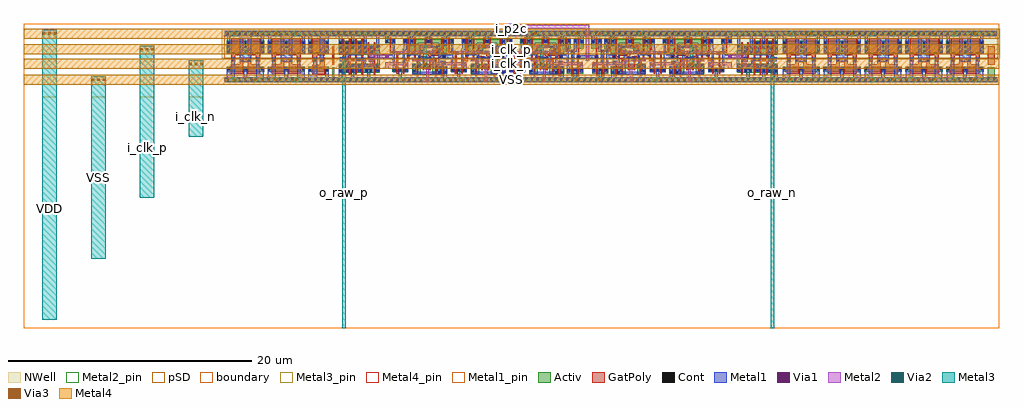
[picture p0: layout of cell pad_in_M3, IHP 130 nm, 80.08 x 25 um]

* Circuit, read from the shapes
.subckt pad_in_M3 VDD VSS i_clk_n i_clk_p i_p2c o_raw_n o_raw_p
XM1 VSS VDD VSS VSS sg13_lv_nmos w=0.42u l=1u m=15
XM2 o_raw_p n1 VSS VSS sg13_lv_nmos w=0.74u l=0.13u m=4
XM3 n1 n2 VSS VSS sg13_lv_nmos w=0.74u l=0.13u
XM4 VSS n3 n2 VSS sg13_lv_nmos w=0.3u l=0.13u
XM5 n4 n5 VSS VSS sg13_lv_nmos w=0.3u l=0.13u
XM6 n5 n6 n7 VSS sg13_lv_nmos w=0.85u l=0.13u
XM7 VSS n3 n5 VSS sg13_lv_nmos w=0.3u l=0.13u
XM8 n3 n5 VSS VSS sg13_lv_nmos w=0.3u l=0.13u
XM9 n7 n8 n3 VSS sg13_lv_nmos w=0.85u l=0.13u
XM10 VSS i_clk_n n7 VSS sg13_lv_nmos w=0.64u l=0.13u
XM11 VSS n9 n8 VSS sg13_lv_nmos w=0.3u l=0.13u
XM12 n6 n10 VSS VSS sg13_lv_nmos w=0.3u l=0.13u
XM13 n10 n11 n12 VSS sg13_lv_nmos w=0.85u l=0.13u
XM14 VSS n9 n10 VSS sg13_lv_nmos w=0.3u l=0.13u
XM15 n9 n10 VSS VSS sg13_lv_nmos w=0.3u l=0.13u
XM16 n12 n13 n9 VSS sg13_lv_nmos w=0.85u l=0.13u
XM17 VSS i_clk_p n12 VSS sg13_lv_nmos w=0.64u l=0.13u
XM18 VSS n14 n13 VSS sg13_lv_nmos w=0.3u l=0.13u
XM19 n11 n15 VSS VSS sg13_lv_nmos w=0.3u l=0.13u
XM20 n15 n16 n17 VSS sg13_lv_nmos w=0.85u l=0.13u
XM21 VSS n14 n15 VSS sg13_lv_nmos w=0.3u l=0.13u
XM22 n14 n15 VSS VSS sg13_lv_nmos w=0.3u l=0.13u
XM23 n17 n18 n14 VSS sg13_lv_nmos w=0.85u l=0.13u
XM24 VSS i_clk_n n17 VSS sg13_lv_nmos w=0.64u l=0.13u
XM25 VSS n16 n18 VSS sg13_lv_nmos w=0.48u l=0.13u
XM26 n16 i_p2c VSS VSS sg13_lv_nmos w=0.48u l=0.13u
XM27 VSS i_p2c n19 VSS sg13_lv_nmos w=0.48u l=0.13u
XM28 n20 n19 VSS VSS sg13_lv_nmos w=0.48u l=0.13u
XM29 n21 i_clk_p VSS VSS sg13_lv_nmos w=0.64u l=0.13u
XM30 n22 n20 n21 VSS sg13_lv_nmos w=0.85u l=0.13u
XM31 VSS n23 n22 VSS sg13_lv_nmos w=0.3u l=0.13u
XM32 n23 n22 VSS VSS sg13_lv_nmos w=0.3u l=0.13u
XM33 n21 n19 n23 VSS sg13_lv_nmos w=0.85u l=0.13u
XM34 VSS n23 n24 VSS sg13_lv_nmos w=0.3u l=0.13u
XM35 n25 n22 VSS VSS sg13_lv_nmos w=0.3u l=0.13u
XM36 n26 i_clk_n VSS VSS sg13_lv_nmos w=0.64u l=0.13u
XM37 n27 n25 n26 VSS sg13_lv_nmos w=0.85u l=0.13u
XM38 VSS n28 n27 VSS sg13_lv_nmos w=0.3u l=0.13u
XM39 n28 n27 VSS VSS sg13_lv_nmos w=0.3u l=0.13u
XM40 n26 n24 n28 VSS sg13_lv_nmos w=0.85u l=0.13u
XM41 VSS n28 n29 VSS sg13_lv_nmos w=0.3u l=0.13u
XM42 n30 n27 VSS VSS sg13_lv_nmos w=0.3u l=0.13u
XM43 VSS n30 n31 VSS sg13_lv_nmos w=0.74u l=0.13u
XM44 o_raw_n n31 VSS VSS sg13_lv_nmos w=0.74u l=0.13u m=4
XM45 VDD VSS VDD VDD sg13_lv_pmos w=1u l=1u m=15
XM46 o_raw_p n1 VDD VDD sg13_lv_pmos w=1.12u l=0.13u m=4
XM47 n1 n2 VDD VDD sg13_lv_pmos w=0.84u l=0.13u m=2
XM48 n2 n3 VDD VDD sg13_lv_pmos w=0.3u l=0.13u
XM49 VDD n5 n4 VDD sg13_lv_pmos w=0.3u l=0.13u
XM50 n32 n6 VDD VDD sg13_lv_pmos w=1.14u l=0.13u
XM51 n5 n3 n32 VDD sg13_lv_pmos w=0.59u l=0.13u
XM52 VDD i_clk_n n32 VDD sg13_lv_pmos w=0.3u l=0.13u
XM53 n33 i_clk_n VDD VDD sg13_lv_pmos w=0.3u l=0.13u
XM54 n33 n5 n3 VDD sg13_lv_pmos w=0.57u l=0.13u
XM55 VDD n8 n33 VDD sg13_lv_pmos w=1.12u l=0.13u
XM56 n8 n9 VDD VDD sg13_lv_pmos w=0.3u l=0.13u
XM57 VDD n10 n6 VDD sg13_lv_pmos w=0.3u l=0.13u
XM58 n34 n11 VDD VDD sg13_lv_pmos w=1.14u l=0.13u
XM59 n10 n9 n34 VDD sg13_lv_pmos w=0.59u l=0.13u
XM60 VDD i_clk_p n34 VDD sg13_lv_pmos w=0.3u l=0.13u
XM61 n35 i_clk_p VDD VDD sg13_lv_pmos w=0.3u l=0.13u
XM62 n35 n10 n9 VDD sg13_lv_pmos w=0.57u l=0.13u
XM63 VDD n13 n35 VDD sg13_lv_pmos w=1.12u l=0.13u
XM64 n13 n14 VDD VDD sg13_lv_pmos w=0.3u l=0.13u
XM65 VDD n15 n11 VDD sg13_lv_pmos w=0.3u l=0.13u
XM66 n36 n16 VDD VDD sg13_lv_pmos w=1.14u l=0.13u
XM67 n15 n14 n36 VDD sg13_lv_pmos w=0.59u l=0.13u
XM68 VDD i_clk_n n36 VDD sg13_lv_pmos w=0.3u l=0.13u
XM69 n37 i_clk_n VDD VDD sg13_lv_pmos w=0.3u l=0.13u
XM70 n37 n15 n14 VDD sg13_lv_pmos w=0.57u l=0.13u
XM71 VDD n18 n37 VDD sg13_lv_pmos w=1.12u l=0.13u
XM72 n18 n16 VDD VDD sg13_lv_pmos w=0.75u l=0.13u
XM73 VDD i_p2c n16 VDD sg13_lv_pmos w=0.75u l=0.13u
XM74 n19 i_p2c VDD VDD sg13_lv_pmos w=0.75u l=0.13u
XM75 VDD n19 n20 VDD sg13_lv_pmos w=0.75u l=0.13u
XM76 n38 n20 VDD VDD sg13_lv_pmos w=1.12u l=0.13u
XM77 n22 n23 n38 VDD sg13_lv_pmos w=0.57u l=0.13u
XM78 VDD i_clk_p n38 VDD sg13_lv_pmos w=0.3u l=0.13u
XM79 n39 i_clk_p VDD VDD sg13_lv_pmos w=0.3u l=0.13u
XM80 n39 n22 n23 VDD sg13_lv_pmos w=0.59u l=0.13u
XM81 VDD n19 n39 VDD sg13_lv_pmos w=1.14u l=0.13u
XM82 n24 n23 VDD VDD sg13_lv_pmos w=0.3u l=0.13u
XM83 VDD n22 n25 VDD sg13_lv_pmos w=0.3u l=0.13u
XM84 n40 n25 VDD VDD sg13_lv_pmos w=1.12u l=0.13u
XM85 n27 n28 n40 VDD sg13_lv_pmos w=0.57u l=0.13u
XM86 VDD i_clk_n n40 VDD sg13_lv_pmos w=0.3u l=0.13u
XM87 n41 i_clk_n VDD VDD sg13_lv_pmos w=0.3u l=0.13u
XM88 n41 n27 n28 VDD sg13_lv_pmos w=0.59u l=0.13u
XM89 VDD n24 n41 VDD sg13_lv_pmos w=1.14u l=0.13u
XM90 n29 n28 VDD VDD sg13_lv_pmos w=0.3u l=0.13u
XM91 VDD n27 n30 VDD sg13_lv_pmos w=0.3u l=0.13u
XM92 n31 n30 VDD VDD sg13_lv_pmos w=0.84u l=0.13u m=2
XM93 o_raw_n n31 VDD VDD sg13_lv_pmos w=1.12u l=0.13u m=4
.ends

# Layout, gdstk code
from math import pi, radians
import gdstk
lib = gdstk.Library(unit=1e-6, precision=1e-09)
def R(c, l, rs):  # rectangles x0, y0, x1, y1
    for r in rs: c.add(gdstk.rectangle(r[:2], r[2:], *l))
def A(c, l, x, y, w, h, nx, ny, dx, dy):  # array of equal rectangles
    R(c, l, [(x+i*dx, y+j*dy, x+i*dx+w, y+j*dy+h) for i in range(nx) for j in range(ny)])
def P(c, l, *ps):  # polygons
    for p in ps: c.add(gdstk.Polygon(p, *l))
Activ = (1, 0)
GatPoly = (5, 0)
Cont = (6, 0)
Metal1 = (8, 0)
Metal1_pin = (8, 2)
Metal2 = (10, 0)
Metal2_pin = (10, 2)
pSD = (14, 0)
Via1 = (19, 0)
Via2 = (29, 0)
Metal3 = (30, 0)
Metal3_pin = (30, 2)
NWell = (31, 0)
Via3 = (49, 0)
Metal4 = (50, 0)
Metal4_pin = (50, 2)
boundary = (189, 4)

sg13cmos5l_fill_1_1 = lib.new_cell('sg13cmos5l_fill_1$1')
R(sg13cmos5l_fill_1_1, Activ, [(0,-0.15,0.48,0.15), (0.16,0.15,0.32,1.03), (0,3.63,0.48,3.93)])
R(sg13cmos5l_fill_1_1, GatPoly, [(0.16,1.23,0.32,2.75)])
R(sg13cmos5l_fill_1_1, Cont, [(0.16,-0.08,0.32,0.08), (0.16,-0.08,0.32,0.08), (0.16,3.7,0.32,3.86), (0.16,3.7,0.32,3.86)])
R(sg13cmos5l_fill_1_1, Metal1, [(0,-0.22,0.48,0.22), (0,3.56,0.48,4)])
R(sg13cmos5l_fill_1_1, pSD, [(-0.07,-0.18,0.55,0.18), (-0.07,1.76,0.55,3.6)])
R(sg13cmos5l_fill_1_1, NWell, [(-0.24,1.75,0.72,4.17)])
R(sg13cmos5l_fill_1_1, boundary, [(0,0,0.48,3.78)])

sg13cmos5l_decap_4_1 = lib.new_cell('sg13cmos5l_decap_4$1')
R(sg13cmos5l_decap_4_1, Activ, [(0,-0.15,1.92,0.15), (0.12,0.645,1.8,1.065), (0.12,2.18,1.8,3.18), (0,3.63,1.92,3.93)])
P(sg13cmos5l_decap_4_1, GatPoly, [(0.46,1.475),(0.46,3.36),(1.46,3.36),(1.46,2),(0.855,2),(0.855,1.475)],
  [(0.46,0.465),(0.46,1.245),(1.065,1.245),(1.065,1.8),(1.46,1.8),(1.46,0.465)])
A(sg13cmos5l_decap_4_1, Cont, 0.16, -0.08, 0.16, 0.16, 4, 2, 0.48, 3.78)
A(sg13cmos5l_decap_4_1, Cont, 0.19, 2.27, 0.16, 0.16, 1, 3, 0, 0.34)
A(sg13cmos5l_decap_4_1, Cont, 1.57, 2.27, 0.16, 0.16, 1, 3, 0, 0.34)
R(sg13cmos5l_decap_4_1, Cont, [(0.19,0.72,0.35,0.88), (1.57,0.72,1.73,0.88), (1.15,1.555,1.31,1.715), (0.61,1.56,0.77,1.72)])
P(sg13cmos5l_decap_4_1, Metal1, [(0,-0.22),(0,0.22),(0.13,0.22),(0.13,0.935),(0.53,0.935),(0.53,1.805),(0.855,1.805),(0.855,0.22),(1.51,0.22),(1.51,0.935),(1.79,0.935),(1.79,0.22),(1.92,0.22),(1.92,-0.22)],
  [(1.065,1.47),(1.065,3.56),(0.4,3.56),(0.4,2.22),(0.13,2.22),(0.13,3.56),(0,3.56),(0,4),(1.92,4),(1.92,3.56),(1.79,3.56),(1.79,2.22),(1.405,2.22),(1.405,1.47)])
R(sg13cmos5l_decap_4_1, pSD, [(-0.07,-0.18,1.99,0.18), (-0.16,1.76,1.99,3.6)])
R(sg13cmos5l_decap_4_1, NWell, [(-0.24,1.75,2.16,4.17)])
R(sg13cmos5l_decap_4_1, boundary, [(0,0,1.92,3.78)])

sg13cmos5l_buf_4_1 = lib.new_cell('sg13cmos5l_buf_4$1')
R(sg13cmos5l_buf_4_1, Activ, [(0,-0.15,3.84,0.15), (0.215,0.59,3.575,1.33), (0,3.63,3.84,3.93)])
P(sg13cmos5l_buf_4_1, Activ, [(0.215,2.06),(0.215,3.18),(2.525,3.18),(2.525,2.9),(3.575,2.9),(3.575,2.06)])
P(sg13cmos5l_buf_4_1, GatPoly, [(3.105,0.41),(3.105,1.57),(2.82,1.57),(2.82,1.75),(2.595,1.75),(2.595,3.08),(2.725,3.08),(2.725,1.9),(3.105,1.9),(3.105,3.08),(3.235,3.08),(3.235,0.41)],
  [(0.555,0.41),(0.555,3.36),(0.685,3.36),(0.685,1.67),(1.065,1.67),(1.065,3.36),(1.195,3.36),(1.195,1.67),(1.575,1.67),(1.575,3.36),(1.705,3.36),(1.705,1.82),(2.085,1.82),(2.085,3.36),(2.215,3.36),(2.215,1.82),(2.3,1.82),(2.3,1.52),(2.215,1.52),(2.215,0.41),(2.085,0.41),(2.085,1.52),(1.705,1.52),(1.705,0.41),(1.575,0.41),(1.575,1.52),(1.195,1.52),(1.195,0.41),(1.065,0.41),(1.065,1.52),(0.685,1.52),(0.685,0.41)])
A(sg13cmos5l_buf_4_1, Cont, 0.285, 0.66, 0.16, 0.16, 4, 2, 0.51, 2.29)
A(sg13cmos5l_buf_4_1, Cont, 0.285, 2.54, 0.16, 0.16, 6, 1, 0.51, 0)
R(sg13cmos5l_buf_4_1, Cont, [(0.16,-0.08,0.32,0.08), (0.16,-0.08,0.32,0.08), (0.64,-0.08,0.8,0.08), (0.64,-0.08,0.8,0.08), (1.12,-0.08,1.28,0.08), (1.12,-0.08,1.28,0.08), (1.6,-0.08,1.76,0.08), (1.6,-0.08,1.76,0.08), (2.08,-0.08,2.24,0.08), (2.08,-0.08,2.24,0.08), (2.56,-0.08,2.72,0.08), (2.56,-0.08,2.72,0.08), (3.04,-0.08,3.2,0.08), (3.04,-0.08,3.2,0.08), (3.52,-0.08,3.68,0.08), (3.52,-0.08,3.68,0.08), (2.425,0.66,2.585,0.82), (2.765,0.66,2.925,0.82), (3.345,0.66,3.505,0.82), (0.285,1,0.445,1.16), (0.795,1,0.955,1.16), (1.815,1,1.975,1.16), (3.345,1,3.505,1.16), (1.73,1.59,1.89,1.75), (2.07,1.59,2.23,1.75), (2.905,1.655,3.065,1.815), (0.285,2.13,0.445,2.29), (0.795,2.13,0.955,2.29), (1.815,2.13,1.975,2.29), (2.325,2.13,2.485,2.29), (2.835,2.2,2.995,2.36), (3.345,2.67,3.505,2.83), (0.16,3.7,0.32,3.86), (0.16,3.7,0.32,3.86), (0.64,3.7,0.8,3.86), (0.64,3.7,0.8,3.86), (1.12,3.7,1.28,3.86), (1.12,3.7,1.28,3.86), (1.6,3.7,1.76,3.86), (1.6,3.7,1.76,3.86), (2.08,3.7,2.24,3.86), (2.08,3.7,2.24,3.86), (2.56,3.7,2.72,3.86), (2.56,3.7,2.72,3.86), (3.04,3.7,3.2,3.86), (3.04,3.7,3.2,3.86), (3.52,3.7,3.68,3.86), (3.52,3.7,3.68,3.86)])
R(sg13cmos5l_buf_4_1, Metal1, [(2.7,1.475,3.15,1.885)])
P(sg13cmos5l_buf_4_1, Metal1, [(0.745,0.605),(0.745,1.525),(0.32,1.525),(0.32,1.84),(0.745,1.84),(0.745,3.13),(1.005,3.13),(1.005,2.165),(1.765,2.165),(1.765,3.13),(2.025,3.13),(2.025,1.995),(1.005,1.995),(1.005,1.225),(2.025,1.225),(2.025,0.645),(1.765,0.645),(1.765,1.065),(1.005,1.065),(1.005,0.605)],
  [(3.245,0.64),(3.245,1.05),(2.265,1.05),(2.265,1.54),(1.68,1.54),(1.68,1.8),(2.43,1.8),(2.43,1.21),(3.4,1.21),(3.4,2.15),(2.785,2.15),(2.785,2.77),(3.045,2.77),(3.045,2.42),(3.59,2.42),(3.59,0.64)],
  [(2.275,2.08),(2.275,3.56),(1.515,3.56),(1.515,2.49),(1.255,2.49),(1.255,3.56),(0.495,3.56),(0.495,2.115),(0.235,2.115),(0.235,3.56),(0,3.56),(0,4),(3.84,4),(3.84,3.56),(3.555,3.56),(3.555,2.64),(3.295,2.64),(3.295,3.56),(2.535,3.56),(2.535,2.08)],
  [(0,-0.22),(0,0.22),(0.235,0.22),(0.235,1.21),(0.495,1.21),(0.495,0.22),(1.255,0.22),(1.255,0.87),(1.515,0.87),(1.515,0.22),(2.545,0.22),(2.545,0.61),(2.375,0.61),(2.375,0.87),(2.975,0.87),(2.975,0.61),(2.805,0.61),(2.805,0.22),(3.84,0.22),(3.84,-0.22)])
R(sg13cmos5l_buf_4_1, pSD, [(-0.07,-0.18,3.91,0.18), (-0.07,1.76,3.91,3.6)])
R(sg13cmos5l_buf_4_1, NWell, [(-0.24,1.75,4.08,4.17)])
R(sg13cmos5l_buf_4_1, boundary, [(0,0,3.84,3.78)])

sg13cmos5l_fill_2_1 = lib.new_cell('sg13cmos5l_fill_2$1')
R(sg13cmos5l_fill_2_1, Activ, [(0,-0.15,0.96,0.15), (0.2,0.15,0.76,1.03), (0,3.63,0.96,3.93)])
R(sg13cmos5l_fill_2_1, GatPoly, [(0.2,1.23,0.76,2.75)])
R(sg13cmos5l_fill_2_1, Cont, [(0.16,-0.08,0.32,0.08), (0.16,-0.08,0.32,0.08), (0.64,-0.08,0.8,0.08), (0.64,-0.08,0.8,0.08), (0.16,3.7,0.32,3.86), (0.16,3.7,0.32,3.86), (0.64,3.7,0.8,3.86), (0.64,3.7,0.8,3.86)])
R(sg13cmos5l_fill_2_1, Metal1, [(0,-0.22,0.96,0.22), (0,3.56,0.96,4)])
R(sg13cmos5l_fill_2_1, Metal1_pin, [(0,-0.22,0.96,0.22), (0,3.56,0.96,4)])
R(sg13cmos5l_fill_2_1, pSD, [(-0.07,-0.18,1.03,0.18), (-0.07,1.76,1.03,3.6)])
R(sg13cmos5l_fill_2_1, NWell, [(-0.24,1.75,1.2,4.17)])
R(sg13cmos5l_fill_2_1, boundary, [(0,0,0.96,3.78)])
sg13cmos5l_fill_2_1.add(gdstk.Label('VSS', (0.49,0), layer=8, texttype=25))
sg13cmos5l_fill_2_1.add(gdstk.Label('VDD', (0.495,3.78), layer=8, texttype=25))

sg13cmos5l_decap_8_1 = lib.new_cell('sg13cmos5l_decap_8$1')
R(sg13cmos5l_decap_8_1, Activ, [(0,-0.15,3.36,0.15), (0.155,0.65,3.215,1.07), (0.165,2.185,3.225,3.185), (0,3.63,3.36,3.93)])
P(sg13cmos5l_decap_8_1, GatPoly, [(0.495,0.47),(0.495,1.25),(1.22,1.25),(1.22,1.805),(2.155,1.805),(2.155,1.25),(2.875,1.25),(2.875,0.47),(1.875,0.47),(1.875,1.415),(1.495,1.415),(1.495,0.47)],
  [(2.555,1.48),(2.555,2.005),(1.885,2.005),(1.885,3.365),(2.885,3.365),(2.885,1.48)],
  [(0.505,1.48),(0.505,3.365),(1.505,3.365),(1.505,2.005),(0.835,2.005),(0.835,1.48)])
A(sg13cmos5l_decap_8_1, Cont, 0.16, -0.08, 0.16, 0.16, 7, 2, 0.48, 3.78)
A(sg13cmos5l_decap_8_1, Cont, 0.225, 0.78, 0.16, 0.16, 3, 1, 1.38, 0)
A(sg13cmos5l_decap_8_1, Cont, 0.235, 2.275, 0.16, 0.16, 3, 3, 1.38, 0.34)
R(sg13cmos5l_decap_8_1, Cont, [(1.3,1.555,1.46,1.715), (1.905,1.555,2.065,1.715), (0.59,1.56,0.75,1.72), (2.63,1.56,2.79,1.72)])
P(sg13cmos5l_decap_8_1, Metal1, [(0,-0.22),(0,0.22),(0.175,0.22),(0.175,0.99),(0.52,0.99),(0.52,1.81),(0.81,1.81),(0.81,0.22),(1.53,0.22),(1.53,1.03),(1.835,1.03),(1.835,0.22),(2.585,0.22),(2.585,1.81),(2.835,1.81),(2.835,0.99),(3.195,0.99),(3.195,0.22),(3.36,0.22),(3.36,-0.22)],
  [(1.22,1.475),(1.22,3.56),(0.445,3.56),(0.445,2.205),(0.185,2.205),(0.185,3.56),(0,3.56),(0,4),(3.36,4),(3.36,3.56),(3.205,3.56),(3.205,2.21),(2.945,2.21),(2.945,3.56),(2.155,3.56),(2.155,1.475)])
R(sg13cmos5l_decap_8_1, Metal1_pin, [(0,-0.22,3.36,0.22), (0,3.56,3.36,4)])
R(sg13cmos5l_decap_8_1, pSD, [(-0.07,-0.18,3.43,0.18), (-0.07,1.76,3.43,3.6)])
R(sg13cmos5l_decap_8_1, NWell, [(-0.24,1.75,3.6,4.17)])
R(sg13cmos5l_decap_8_1, boundary, [(0,0,3.36,3.78)])
sg13cmos5l_decap_8_1.add(gdstk.Label('VDD', (1.68,3.78), layer=8, texttype=25))
sg13cmos5l_decap_8_1.add(gdstk.Label('VSS', (1.68,0), layer=8, texttype=25))

tlatch_g5i2_out = lib.new_cell('tlatch_g5i2_out')
R(tlatch_g5i2_out, Activ, [(0,-0.15,0.48,0.15)])
P(tlatch_g5i2_out, Activ, [(0,3),(0,3.93),(0.48,3.93),(0.48,3.63),(0.3,3.63),(0.3,3)])
R(tlatch_g5i2_out, Cont, [(0.16,-0.08,0.32,0.08), (0.07,3.07,0.23,3.23), (0.16,3.7,0.32,3.86)])
R(tlatch_g5i2_out, Metal1, [(0,-0.22,0.48,0.22), (0,1.74,0.3,2.04)])
P(tlatch_g5i2_out, Metal1, [(0.02,3),(0.02,3.56),(0,3.56),(0,4),(0.48,4),(0.48,3.56),(0.28,3.56),(0.28,3)])
R(tlatch_g5i2_out, Metal2, [(0,0.92,0.3,1.415)])
R(tlatch_g5i2_out, pSD, [(-0.18,-0.18,0.66,0.18), (-0.18,1.76,0.66,3.6)])
R(tlatch_g5i2_out, NWell, [(-0.32,1.75,0.8,4.17)])
R(tlatch_g5i2_out, boundary, [(0,0,0.48,3.78)])

tlatch_g5i2_abut = lib.new_cell('tlatch_g5i2_abut')
R(tlatch_g5i2_abut, Activ, [(0,-0.15,4.8,0.15), (3.18,0.66,4.5,0.96), (4.26,3,4.96,3.3)])
P(tlatch_g5i2_abut, Activ, [(0,0.48),(0,1.12),(0.58,1.12),(0.58,1.33),(1.21,1.33),(1.21,1.26),(2.15,1.26),(2.15,1.33),(2.85,1.33),(2.85,0.48),(2.15,0.48),(2.15,0.96),(1.21,0.96),(1.21,0.48)],
  [(1.82,2.16),(1.82,2.5),(1.93,2.5),(1.93,2.75),(2.36,2.75),(2.36,3),(0.7,3),(0.7,2.75),(1.13,2.75),(1.13,2.5),(1.24,2.5),(1.24,2.18),(0,2.18),(0,3.63),(0.26,3.63),(0.26,3.3),(1.42,3.3),(1.42,3.63),(1.64,3.63),(1.64,3.3),(2.8,3.3),(2.8,3.63),(0,3.63),(0,3.93),(4.8,3.93),(4.8,3.63),(3.06,3.63),(3.06,3.3),(3.6,3.3),(3.6,3),(3.06,3),(3.06,2.29),(2.95,2.29),(2.95,2.16)])
P(tlatch_g5i2_abut, GatPoly, [(3.52,0.48),(3.52,1.53),(3.13,1.53),(3.13,1.92),(3.02,1.92),(3.02,2.22),(3.13,2.22),(3.13,3.49),(3.26,3.49),(3.26,2.22),(3.32,2.22),(3.32,1.92),(3.26,1.92),(3.26,1.66),(3.65,1.66),(3.65,0.48)],
  [(4.03,0.48),(4.03,2.04),(3.83,2.04),(3.83,2.34),(4.6,2.34),(4.6,3.49),(4.73,3.49),(4.73,2.21),(4.16,2.21),(4.16,0.48)],
  [(0.34,0.3),(0.34,1.26),(0.13,1.26),(0.13,1.56),(0.43,1.56),(0.43,1.39),(0.47,1.39),(0.47,0.3)],
  [(1.36,0.78),(1.36,1.975),(0.77,1.975),(0.77,2.93),(0.9,2.93),(0.9,2.105),(1.38,2.105),(1.38,2.39),(1.68,2.39),(1.68,2.09),(1.58,2.09),(1.58,1.975),(1.49,1.975),(1.49,0.78)],
  [(1.87,0.78),(1.87,1.62),(1.76,1.62),(1.76,1.92),(1.96,1.92),(1.96,1.97),(2.16,1.97),(2.16,2.93),(2.29,2.93),(2.29,1.84),(2.09,1.84),(2.09,1.62),(2,1.62),(2,0.78)],
  [(0.85,0.3),(0.85,1.665),(0.61,1.665),(0.61,1.69),(0.57,1.69),(0.57,1.71),(0.53,1.71),(0.53,1.74),(0.1,1.74),(0.1,2.04),(0.34,2.04),(0.34,3.49),(0.47,3.49),(0.47,1.94),(0.57,1.94),(0.57,1.9),(0.6,1.9),(0.6,1.86),(0.63,1.86),(0.63,1.83),(0.66,1.83),(0.66,1.81),(0.69,1.81),(0.69,1.795),(0.98,1.795),(0.98,0.3)],
  [(1.38,2.57),(1.38,2.72),(1.21,2.72),(1.21,3.49),(1.34,3.49),(1.34,2.87),(1.72,2.87),(1.72,3.49),(1.85,3.49),(1.85,2.72),(1.68,2.72),(1.68,2.57)],
  [(2.38,0.3),(2.38,1.68),(2.56,1.68),(2.56,1.815),(2.59,1.815),(2.59,3.49),(2.72,3.49),(2.72,1.815),(2.86,1.815),(2.86,1.515),(2.51,1.515),(2.51,0.3)])
A(tlatch_g5i2_abut, Cont, 0.16, -0.08, 0.16, 0.16, 10, 2, 0.48, 3.78)
A(tlatch_g5i2_abut, Cont, 3.25, 0.73, 0.16, 0.16, 3, 1, 0.51, 0)
A(tlatch_g5i2_abut, Cont, 1.09, 1.03, 0.16, 0.16, 3, 1, 0.51, 0)
A(tlatch_g5i2_abut, Cont, 0.07, 3.07, 0.16, 0.16, 3, 1, 1.38, 0)
R(tlatch_g5i2_abut, Cont, [(0.07,0.55,0.23,0.71), (0.58,0.55,0.74,0.71), (2.62,0.61,2.78,0.77), (0.07,0.89,0.23,1.05), (0.58,0.89,0.74,1.05), (2.62,1.09,2.78,1.25), (0.2,1.33,0.36,1.49), (2.63,1.585,2.79,1.745), (1.83,1.69,1.99,1.85), (0.17,1.81,0.33,1.97), (3.09,1.99,3.25,2.15), (3.9,2.11,4.06,2.27), (1.45,2.16,1.61,2.32), (1.89,2.23,2.05,2.39), (1.01,2.25,1.17,2.41), (1.45,2.64,1.61,2.8), (0.07,2.73,0.23,2.89), (2.83,2.73,2.99,2.89), (3.37,3.07,3.53,3.23), (4.33,3.07,4.49,3.23)])
R(tlatch_g5i2_abut, Metal1, [(1.55,0.84,1.81,1.29), (2.56,1.515,2.86,1.815), (0,1.74,0.4,2.04), (3.83,2.04,4.13,2.34)])
P(tlatch_g5i2_abut, Metal1, [(0,-0.22),(0,0.22),(0.02,0.22),(0.02,1.1),(0.28,1.1),(0.28,0.22),(3.71,0.22),(3.71,0.99),(3.97,0.99),(3.97,0.22),(4.8,0.22),(4.8,-0.22)],
  [(0.51,0.45),(0.51,1.1),(0.81,1.1),(0.81,0.65),(2.57,0.65),(2.57,1.25),(2.83,1.25),(2.83,0.45)],
  [(2.11,0.95),(2.11,1.295),(2.22,1.295),(2.22,2.14),(1.66,2.14),(1.66,2.11),(1.4,2.11),(1.4,2.37),(1.66,2.37),(1.66,2.3),(1.84,2.3),(1.84,2.44),(2.38,2.44),(2.38,2.19),(3.04,2.19),(3.04,2.2),(3.3,2.2),(3.3,1.94),(3.04,1.94),(3.04,2.015),(2.38,2.015),(2.38,0.95)],
  [(1.09,0.95),(1.09,1.74),(1.06,1.74),(1.06,2.14),(0.92,2.14),(0.92,2.46),(1.22,2.46),(1.22,1.9),(2.04,1.9),(2.04,1.64),(1.78,1.64),(1.78,1.74),(1.25,1.74),(1.25,0.95)],
  [(0.15,1.28),(0.15,1.54),(0.58,1.54),(0.58,2.8),(1.38,2.8),(1.38,2.87),(1.68,2.87),(1.68,2.57),(1.38,2.57),(1.38,2.64),(0.74,2.64),(0.74,1.38),(0.41,1.38),(0.41,1.28)],
  [(3.2,0.63),(3.2,1.42),(3.48,1.42),(3.48,2.4),(3.32,2.4),(3.32,3.3),(3.58,3.3),(3.58,2.54),(3.64,2.54),(3.64,1.22),(3.5,1.22),(3.5,1.12),(3.46,1.12),(3.46,0.63)],
  [(4.22,0.63),(4.22,1.09),(4.32,1.09),(4.32,2.94),(4.26,2.94),(4.26,3.3),(4.52,3.3),(4.52,2.94),(4.48,2.94),(4.48,2.04),(4.8,2.04),(4.8,1.74),(4.48,1.74),(4.48,0.63)],
  [(0.02,2.73),(0.02,3.56),(0,3.56),(0,4),(4.8,4),(4.8,3.56),(3.04,3.56),(3.04,2.73),(2.78,2.73),(2.78,3.56),(1.66,3.56),(1.66,3.05),(1.4,3.05),(1.4,3.56),(0.28,3.56),(0.28,2.73)])
R(tlatch_g5i2_abut, Metal2, [(1.385,2.575,2.25,2.865)])
P(tlatch_g5i2_abut, Metal2, [(1.53,-0.15),(1.53,1.245),(1.83,1.245),(1.83,0.96),(1.73,0.96),(1.73,0.15),(1.83,0.15),(1.83,-0.15)],
  [(3.205,1.125),(3.205,1.415),(4.8,1.415),(4.8,1.195),(3.495,1.195),(3.495,1.125)],
  [(0,1.195),(0,1.415),(1.01,1.415),(1.01,1.72),(2.565,1.72),(2.565,1.81),(2.855,1.81),(2.855,1.52),(1.23,1.52),(1.23,1.195)],
  [(3.83,2.04),(3.83,2.14),(0.92,2.14),(0.92,2.44),(1.22,2.44),(1.22,2.34),(4.13,2.34),(4.13,2.04)])
R(tlatch_g5i2_abut, pSD, [(-0.18,-0.18,5.14,0.18), (-0.18,1.76,5.14,3.6)])
R(tlatch_g5i2_abut, Via1, [(1.585,-0.095,1.775,0.095), (1.585,1.005,1.775,1.195), (3.255,1.175,3.445,1.365), (2.615,1.57,2.805,1.76), (3.885,2.095,4.075,2.285), (0.97,2.195,1.16,2.385), (1.435,2.625,1.625,2.815)])
R(tlatch_g5i2_abut, NWell, [(-0.32,1.75,5.27,4.17)])
R(tlatch_g5i2_abut, boundary, [(0,0,4.8,3.78)])

tlatch_g5i2_in = lib.new_cell('tlatch_g5i2_in')
R(tlatch_g5i2_in, Activ, [(0,-0.15,1.92,0.15), (0.37,0.48,1.69,0.96), (1.38,2.55,2.08,3.3)])
P(tlatch_g5i2_in, Activ, [(0.31,2.55),(0.31,3.63),(0,3.63),(0,3.93),(1.92,3.93),(1.92,3.63),(0.61,3.63),(0.61,3.3),(1.15,3.3),(1.15,2.55)])
P(tlatch_g5i2_in, GatPoly, [(0.71,0.3),(0.71,1.705),(0.57,1.705),(0.57,2.005),(0.68,2.005),(0.68,3.49),(0.81,3.49),(0.81,2.005),(0.87,2.005),(0.87,1.705),(0.84,1.705),(0.84,0.3)],
  [(1.22,0.3),(1.22,2.17),(1.07,2.17),(1.07,2.47),(1.72,2.47),(1.72,3.49),(1.85,3.49),(1.85,2.31),(1.37,2.31),(1.37,2.17),(1.35,2.17),(1.35,0.3)])
A(tlatch_g5i2_in, Cont, 0.16, -0.08, 0.16, 0.16, 4, 2, 0.48, 3.78)
A(tlatch_g5i2_in, Cont, 0.44, 0.73, 0.16, 0.16, 3, 1, 0.51, 0)
R(tlatch_g5i2_in, Cont, [(0.64,1.775,0.8,1.935), (1.14,2.24,1.3,2.4), (0.38,3.07,0.54,3.23), (0.92,3.07,1.08,3.23), (1.45,3.07,1.61,3.23)])
R(tlatch_g5i2_in, Metal1, [(0.57,1.705,0.87,2.005)])
P(tlatch_g5i2_in, Metal1, [(0,-0.22),(0,0.22),(0.9,0.22),(0.9,0.99),(1.16,0.99),(1.16,0.22),(1.92,0.22),(1.92,-0.22)],
  [(0.39,0.63),(0.39,1.42),(1.1,1.42),(1.1,2.17),(1.07,2.17),(1.07,2.29),(0.87,2.29),(0.87,3.3),(1.13,3.3),(1.13,2.47),(1.37,2.47),(1.37,2.17),(1.26,2.17),(1.26,1.22),(0.69,1.22),(0.69,1.12),(0.65,1.12),(0.65,0.63)],
  [(1.41,0.63),(1.41,1.06),(1.55,1.06),(1.55,2.92),(1.38,2.92),(1.38,3.3),(1.64,3.3),(1.64,3.07),(1.71,3.07),(1.71,2.04),(1.92,2.04),(1.92,1.74),(1.71,1.74),(1.71,0.95),(1.67,0.95),(1.67,0.63)],
  [(0.33,3.01),(0.33,3.56),(0,3.56),(0,4),(1.92,4),(1.92,3.56),(0.59,3.56),(0.59,3.01)])
P(tlatch_g5i2_in, Metal2, [(0.395,1.125),(0.395,1.415),(1.92,1.415),(1.92,1.195),(0.685,1.195),(0.685,1.125)])
R(tlatch_g5i2_in, pSD, [(-0.03,-0.18,1.96,0.18), (0,1.76,2.26,3.6)])
R(tlatch_g5i2_in, Via1, [(0.445,1.175,0.635,1.365)])
R(tlatch_g5i2_in, NWell, [(-0.24,1.75,2.39,4.17)])
R(tlatch_g5i2_in, boundary, [(0,0,1.92,3.78)])

pad_in_m3 = lib.new_cell('pad_in_M3')
R(pad_in_m3, Metal1, [(45.37,22.105,47.11,22.405)])
A(pad_in_m3, Metal2, 30.925, 20.205, 0.39, 0.39, 3, 1, 4.8, 0)
A(pad_in_m3, Metal2, 32.125, 23.985, 0.39, 0.39, 3, 1, 4.8, 0)
R(pad_in_m3, Metal2, [(17.085,20.205,17.475,20.595), (18.785,20.205,19.175,20.595), (20.445,20.205,20.835,20.595), (22.145,20.205,22.535,20.595), (45.085,20.205,45.475,20.595), (47.005,20.205,47.395,20.595), (51.565,20.205,51.955,20.595), (56.365,20.205,56.755,20.595), (62.685,20.205,63.075,20.595), (64.385,20.205,64.775,20.595), (66.045,20.205,66.435,20.595), (67.745,20.205,68.135,20.595), (69.405,20.205,69.795,20.595), (71.105,20.205,71.495,20.595), (72.765,20.205,73.155,20.595), (74.465,20.205,74.855,20.595), (76.125,20.205,76.515,20.595), (77.825,20.205,78.215,20.595), (28.425,21.42,28.625,22.225), (59.055,21.42,59.255,22.225), (26.065,21.885,26.455,22.275), (61.225,21.885,61.615,22.275), (46.09,21.955,46.39,24.9), (28.425,22.145,29.915,22.435), (57.765,22.145,59.255,22.435), (17.085,23.985,17.475,24.375), (18.785,23.985,19.175,24.375), (20.445,23.985,20.835,24.375), (22.145,23.985,22.535,24.375), (45.085,23.985,45.475,24.375), (47.005,23.985,47.395,24.375), (50.365,23.985,50.755,24.375), (55.165,23.985,55.555,24.375), (62.685,23.985,63.075,24.375), (64.385,23.985,64.775,24.375), (66.045,23.985,66.435,24.375), (67.745,23.985,68.135,24.375), (69.405,23.985,69.795,24.375), (71.105,23.985,71.495,24.375), (72.765,23.985,73.155,24.375), (74.465,23.985,74.855,24.375), (76.125,23.985,76.515,24.375), (77.825,23.985,78.215,24.375), (39.725,24.2,40.41,25), (39.85,24.2,40.15,25), (39.85,24.6,46.39,24.9)])
R(pad_in_m3, Metal2_pin, [(39.725,24.2,40.225,25)])
A(pad_in_m3, Via1, 31.025, 20.305, 0.19, 0.19, 3, 1, 4.8, 0)
A(pad_in_m3, Via1, 32.225, 24.085, 0.19, 0.19, 3, 1, 4.8, 0)
R(pad_in_m3, Via1, [(17.185,20.305,17.375,20.495), (18.885,20.305,19.075,20.495), (20.545,20.305,20.735,20.495), (22.245,20.305,22.435,20.495), (45.185,20.305,45.375,20.495), (47.105,20.305,47.295,20.495), (51.665,20.305,51.855,20.495), (56.465,20.305,56.655,20.495), (62.785,20.305,62.975,20.495), (64.485,20.305,64.675,20.495), (66.145,20.305,66.335,20.495), (67.845,20.305,68.035,20.495), (69.505,20.305,69.695,20.495), (71.205,20.305,71.395,20.495), (72.865,20.305,73.055,20.495), (74.565,20.305,74.755,20.495), (76.225,20.305,76.415,20.495), (77.925,20.305,78.115,20.495), (26.165,21.985,26.355,22.175), (28.43,21.985,28.62,22.175), (59.06,21.985,59.25,22.175), (61.325,21.985,61.515,22.175), (46.145,22.16,46.335,22.35), (29.675,22.195,29.865,22.385), (57.815,22.195,58.005,22.385), (17.185,24.085,17.375,24.275), (18.885,24.085,19.075,24.275), (20.545,24.085,20.735,24.275), (22.245,24.085,22.435,24.275), (45.185,24.085,45.375,24.275), (47.105,24.085,47.295,24.275), (50.465,24.085,50.655,24.275), (55.265,24.085,55.455,24.275), (62.785,24.085,62.975,24.275), (64.485,24.085,64.675,24.275), (66.145,24.085,66.335,24.275), (67.845,24.085,68.035,24.275), (69.505,24.085,69.695,24.275), (71.205,24.085,71.395,24.275), (72.865,24.085,73.055,24.275), (74.565,24.085,74.755,24.275), (76.225,24.085,76.415,24.275), (77.925,24.085,78.115,24.275)])
A(pad_in_m3, Via2, 31.025, 20.305, 0.19, 0.19, 3, 1, 4.8, 0)
A(pad_in_m3, Via2, 32.805, 23.025, 0.19, 0.19, 3, 1, 4.8, 0)
A(pad_in_m3, Via2, 32.225, 24.085, 0.19, 0.19, 3, 1, 4.8, 0)
R(pad_in_m3, Via2, [(17.185,20.305,17.375,20.495), (18.885,20.305,19.075,20.495), (20.545,20.305,20.735,20.495), (22.245,20.305,22.435,20.495), (45.185,20.305,45.375,20.495), (47.105,20.305,47.295,20.495), (51.665,20.305,51.855,20.495), (56.465,20.305,56.655,20.495), (62.785,20.305,62.975,20.495), (64.485,20.305,64.675,20.495), (66.145,20.305,66.335,20.495), (67.845,20.305,68.035,20.495), (69.505,20.305,69.695,20.495), (71.205,20.305,71.395,20.495), (72.865,20.305,73.055,20.495), (74.565,20.305,74.755,20.495), (76.225,20.305,76.415,20.495), (77.925,20.305,78.115,20.495), (26.165,21.985,26.355,22.175), (61.325,21.985,61.515,22.175), (49.885,23.025,50.075,23.215), (54.685,23.025,54.875,23.215), (17.185,24.085,17.375,24.275), (18.885,24.085,19.075,24.275), (20.545,24.085,20.735,24.275), (22.245,24.085,22.435,24.275), (45.185,24.085,45.375,24.275), (47.105,24.085,47.295,24.275), (50.465,24.085,50.655,24.275), (55.265,24.085,55.455,24.275), (62.785,24.085,62.975,24.275), (64.485,24.085,64.675,24.275), (66.145,24.085,66.335,24.275), (67.845,24.085,68.035,24.275), (69.505,24.085,69.695,24.275), (71.205,24.085,71.395,24.275), (72.865,24.085,73.055,24.275), (74.565,24.085,74.755,24.275), (76.225,24.085,76.415,24.275), (77.925,24.085,78.115,24.275)])
A(pad_in_m3, Metal3, 30.925, 20.205, 0.39, 0.39, 3, 1, 4.8, 0)
A(pad_in_m3, Metal3, 32.125, 23.985, 0.39, 0.39, 3, 1, 4.8, 0)
R(pad_in_m3, Metal3, [(26.11,0,26.41,22.275), (61.27,0,61.57,22.275), (1.5,0.7,2.7,24.48), (5.5,5.7,6.7,20.7), (9.5,10.7,10.7,23.2), (13.5,15.7,14.7,22), (1.5,19.1,2.7,24.48), (9.5,19.1,10.7,23.2), (13.5,19.1,14.7,22), (17.085,20.205,17.475,20.595), (18.785,20.205,19.175,20.595), (20.445,20.205,20.835,20.595), (22.145,20.205,22.535,20.595), (45.085,20.205,45.475,20.595), (47.005,20.205,47.395,20.595), (51.565,20.205,51.955,20.595), (56.365,20.205,56.755,20.595), (62.685,20.205,63.075,20.595), (64.385,20.205,64.775,20.595), (66.045,20.205,66.435,20.595), (67.745,20.205,68.135,20.595), (69.405,20.205,69.795,20.595), (71.105,20.205,71.495,20.595), (72.765,20.205,73.155,20.595), (74.465,20.205,74.855,20.595), (76.125,20.205,76.515,20.595), (77.825,20.205,78.215,20.595), (32.705,21.505,33.095,21.895), (32.75,21.505,33.05,23.315), (42.305,21.505,42.695,21.895), (42.35,21.505,42.65,23.315), (54.585,21.505,54.975,21.895), (54.63,21.505,54.93,23.315), (37.505,22.925,37.895,23.315), (49.785,22.925,50.175,23.315), (17.085,23.985,17.475,24.375), (18.785,23.985,19.175,24.375), (20.445,23.985,20.835,24.375), (22.145,23.985,22.535,24.375), (45.085,23.985,45.475,24.375), (47.005,23.985,47.395,24.375), (50.365,23.985,50.755,24.375), (55.165,23.985,55.555,24.375), (62.685,23.985,63.075,24.375), (64.385,23.985,64.775,24.375), (66.045,23.985,66.435,24.375), (67.745,23.985,68.135,24.375), (69.405,23.985,69.795,24.375), (71.105,23.985,71.495,24.375), (72.765,23.985,73.155,24.375), (74.465,23.985,74.855,24.375), (76.125,23.985,76.515,24.375), (77.825,23.985,78.215,24.375)])
R(pad_in_m3, Metal3_pin, [(26.11,0,26.41,22.275), (61.27,0,61.57,22.275), (1.5,0.7,2.7,19), (5.5,5.7,6.7,19), (9.5,10.7,10.7,19), (13.5,15.7,14.7,19)])
A(pad_in_m3, Via3, 5.555, 20.305, 0.19, 0.19, 3, 1, 0.45, 0)
A(pad_in_m3, Via3, 31.025, 20.305, 0.19, 0.19, 3, 1, 4.8, 0)
A(pad_in_m3, Via3, 13.555, 21.605, 0.19, 0.19, 3, 1, 0.45, 0)
A(pad_in_m3, Via3, 9.555, 22.805, 0.19, 0.19, 3, 1, 0.45, 0)
A(pad_in_m3, Via3, 1.555, 24.085, 0.19, 0.19, 3, 1, 0.45, 0)
A(pad_in_m3, Via3, 32.225, 24.085, 0.19, 0.19, 3, 1, 4.8, 0)
R(pad_in_m3, Via3, [(17.185,20.305,17.375,20.495), (18.885,20.305,19.075,20.495), (20.545,20.305,20.735,20.495), (22.245,20.305,22.435,20.495), (45.185,20.305,45.375,20.495), (47.105,20.305,47.295,20.495), (51.665,20.305,51.855,20.495), (56.465,20.305,56.655,20.495), (62.785,20.305,62.975,20.495), (64.485,20.305,64.675,20.495), (66.145,20.305,66.335,20.495), (67.845,20.305,68.035,20.495), (69.505,20.305,69.695,20.495), (71.205,20.305,71.395,20.495), (72.865,20.305,73.055,20.495), (74.565,20.305,74.755,20.495), (76.225,20.305,76.415,20.495), (77.925,20.305,78.115,20.495), (32.805,21.605,32.995,21.795), (42.405,21.605,42.595,21.795), (54.685,21.605,54.875,21.795), (37.605,23.025,37.795,23.215), (49.885,23.025,50.075,23.215), (17.185,24.085,17.375,24.275), (18.885,24.085,19.075,24.275), (20.545,24.085,20.735,24.275), (22.245,24.085,22.435,24.275), (45.185,24.085,45.375,24.275), (47.105,24.085,47.295,24.275), (50.465,24.085,50.655,24.275), (55.265,24.085,55.455,24.275), (62.785,24.085,62.975,24.275), (64.485,24.085,64.675,24.275), (66.145,24.085,66.335,24.275), (67.845,24.085,68.035,24.275), (69.505,24.085,69.695,24.275), (71.205,24.085,71.395,24.275), (72.865,24.085,73.055,24.275), (74.565,24.085,74.755,24.275), (76.225,24.085,76.415,24.275), (77.925,24.085,78.115,24.275)])
R(pad_in_m3, Metal4, [(0,20,80,20.8), (0,21.3,80,22.1), (0,22.5,80,23.3), (0,23.78,80,24.58)])
R(pad_in_m3, Metal4_pin, [(0,20,80,20.8), (0,21.3,80,22.1), (0,22.5,80,23.3), (0,23.78,80,24.58)])
R(pad_in_m3, boundary, [(0,0,80,25)])
pad_in_m3.add(gdstk.Reference(sg13cmos5l_fill_1_1, (25.12,20.4)))
pad_in_m3.add(gdstk.Reference(sg13cmos5l_decap_4_1, (23.2,20.4)))
pad_in_m3.add(gdstk.Reference(sg13cmos5l_buf_4_1, (25.6,20.4)))
pad_in_m3.add(gdstk.Reference(sg13cmos5l_buf_4_1, (62.08,20.4), rotation=pi, x_reflection=True))
pad_in_m3.add(gdstk.Reference(sg13cmos5l_fill_2_1, (78.88,20.4)))
pad_in_m3.add(gdstk.Reference(sg13cmos5l_decap_8_1, (62.08,20.4)))
pad_in_m3.add(gdstk.Reference(sg13cmos5l_decap_8_1, (19.84,20.4)))
pad_in_m3.add(gdstk.Reference(sg13cmos5l_decap_8_1, (65.44,20.4)))
pad_in_m3.add(gdstk.Reference(sg13cmos5l_decap_8_1, (68.8,20.4)))
pad_in_m3.add(gdstk.Reference(sg13cmos5l_decap_8_1, (72.16,20.4)))
pad_in_m3.add(gdstk.Reference(sg13cmos5l_decap_8_1, (75.52,20.4)))
pad_in_m3.add(gdstk.Reference(sg13cmos5l_decap_8_1, (16.48,20.4)))
pad_in_m3.add(gdstk.Reference(tlatch_g5i2_out, (57.76,20.4)))
pad_in_m3.add(gdstk.Reference(tlatch_g5i2_out, (29.92,20.4), rotation=pi, x_reflection=True))
pad_in_m3.add(gdstk.Reference(tlatch_g5i2_abut, (48.16,20.4)))
pad_in_m3.add(gdstk.Reference(tlatch_g5i2_abut, (52.96,20.4)))
pad_in_m3.add(gdstk.Reference(tlatch_g5i2_abut, (44.32,20.4), rotation=pi, x_reflection=True))
pad_in_m3.add(gdstk.Reference(tlatch_g5i2_abut, (39.52,20.4), rotation=pi, x_reflection=True))
pad_in_m3.add(gdstk.Reference(tlatch_g5i2_abut, (34.72,20.4), rotation=pi, x_reflection=True))
pad_in_m3.add(gdstk.Reference(tlatch_g5i2_in, (46.24,20.4)))
pad_in_m3.add(gdstk.Reference(tlatch_g5i2_in, (46.24,20.4), rotation=pi, x_reflection=True))
pad_in_m3.add(gdstk.Label('i_p2c', (40,24.6), layer=10, texttype=25))
pad_in_m3.add(gdstk.Label('VSS', (40,20.4), layer=50, texttype=25))
pad_in_m3.add(gdstk.Label('i_clk_n', (40,21.7), layer=50, texttype=25))
pad_in_m3.add(gdstk.Label('i_clk_p', (40,22.9), layer=50, texttype=25))
pad_in_m3.add(gdstk.Label('VDD', (40,24.18), layer=50, texttype=25))
pad_in_m3.add(gdstk.Label('VDD', (2.1,9.85), layer=30, texttype=25))
pad_in_m3.add(gdstk.Label('VSS', (6.1,12.35), layer=30, texttype=25))
pad_in_m3.add(gdstk.Label('i_clk_p', (10.1,14.85), layer=30, texttype=25))
pad_in_m3.add(gdstk.Label('i_clk_n', (14.1,17.35), layer=30, texttype=25))
pad_in_m3.add(gdstk.Label('o_raw_p', (26.26,11.138), layer=30, texttype=25))
pad_in_m3.add(gdstk.Label('o_raw_n', (61.42,11.138), layer=30, texttype=25))

lib.write_gds('pad_in_M3.gds')
